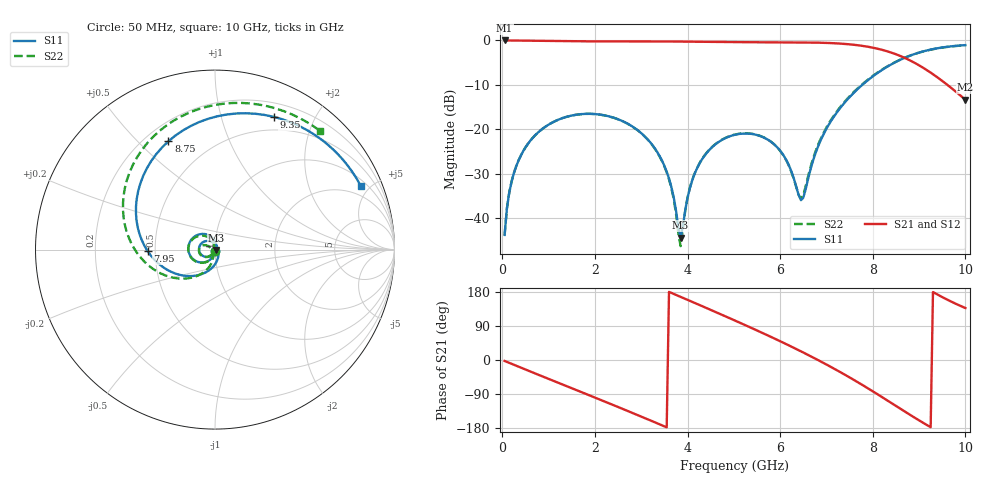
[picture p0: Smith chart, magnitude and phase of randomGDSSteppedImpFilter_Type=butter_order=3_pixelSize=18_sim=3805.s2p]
! freq	dB(S11)	phase(S11)	dB(S12)	phase(S12)
!  dB(S21)	phase(S21)	dB(S22)	phase(S22)
!S-par simulation data
#  GHz  S  DB  R 50
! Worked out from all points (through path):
!   200 points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, 50 MHz to 10 GHz, reference 50 ohm
!   highest |S21| = 0.00 dB at 50 MHz (marker M1); lowest = -13.4 dB at 10 GHz (marker M2)
!   group delay of S21, straight-line fit = 161 ps
!   lowest |S11| = -44.4 dB at 3.85 GHz (marker M3), VSWR 1.01, Z = 50.6 - j0.184 ohm
!   |S11| at or under -10 dB: start of sweep to 7.775 GHz
!   |S22| runs from -46.4 to -1.1 dB; largest |S21 - S12| = 0
!   S11 on the Smith chart (normalised r, x): 50 MHz: 1.00, -0.01; 7.95 GHz: 0.45, -0.01; 8.75 GHz: 0.29, +0.62; 9.35 GHz: 0.35, +1.48; 10 GHz: 1.32, +4.38
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0.05  -43.81 -92.0  -0.00 -2.5  -0.00 -2.5  -43.81 -91.9
0.1  -37.80 -94.9  -0.00 -5.0  -0.00 -5.0  -37.80 -94.7
0.2  -31.82 -100.2  -0.01 -10.1  -0.01 -10.1  -31.82 -99.9
0.5  -24.11 -115.7  -0.04 -25.1  -0.04 -25.1  -24.10 -115.0
1.15  -18.12 -149.0  -0.13 -57.3  -0.13 -57.3  -18.13 -147.0
1.75  -16.56 -179.4  -0.20 -86.8  -0.20 -86.8  -16.57 -176.1
2.5  -17.75 142.1  -0.22 -124.0  -0.22 -124.0  -17.77 147.9
3.4  -26.11 90.7  -0.22 -169.9  -0.22 -169.9  -26.19 106.8
3.65  -32.97 68.8  -0.24 177.2  -0.24 177.2  -33.22 101.3
3.85  -44.40 -17.6  -0.25 166.7  -0.25 166.7  -46.35 174.9
4  -35.46 -94.1  -0.26 158.8  -0.26 158.8  -35.44 -124.9
4.2  -28.92 -116.3  -0.29 148.3  -0.29 148.3  -28.84 -126.2
5.05  -21.19 -170.8  -0.38 102.7  -0.38 102.7  -21.14 -164.0
5.9  -23.69 132.4  -0.42 55.4  -0.42 55.4  -23.70 157.6
6.45  -35.98 26.6  -0.44 22.8  -0.44 22.8  -35.67 -158.3
6.7  -27.42 -64.6  -0.47 7.3  -0.47 7.3  -26.98 -103.4
7.3  -15.17 -124.6  -0.71 -32.0  -0.71 -32.0  -14.96 -124.5
7.95  -8.50 -178.9  -1.52 -78.8  -1.52 -78.8  -8.38 -166.6
8.35  -5.69 147.1  -2.56 -109.5  -2.56 -109.5  -5.63 164.2
8.75  -3.65 113.2  -4.22 -140.5  -4.22 -140.5  -3.63 133.9
9.35  -1.84 66.2  -7.97 175.9  -7.97 175.9  -1.87 90.0
10  -1.05 23.7  -13.37 137.2  -13.37 137.2  -1.08 48.5
